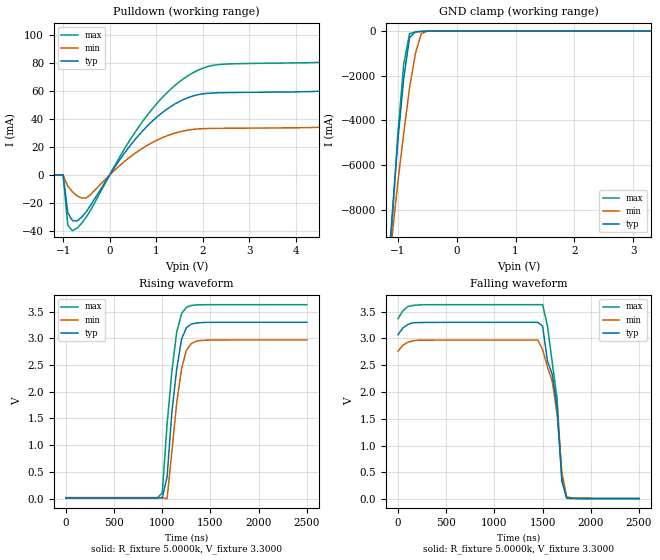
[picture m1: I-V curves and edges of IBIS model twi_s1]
| [Disclaimer]
| Copyright (C)2008 Analog Devices, All Rights Reserved
| [Copyright] This model is exclusive property of Analog Devices Inc
| From bf51x_3_3_24x24_lqfp.ibs, BF512/BF514/BF516/BF518, ANALOG DEVICES
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|   Model ptwi400kv123
[Model]   twi_s1
Model_type   I/O_open_drain
Polarity   Non-Inverting
Enable   Active-Low
Vinl =   0.9900V
Vinh =   2.3100V
Vmeas =   1.6500V
Cref =  50.0000pF
Rref =   5.0000k
Vref =   3.3000V
C_comp   7.1300pF   6.4200pF   7.8500pF
[Temperature Range]   25.0000   0.1250k   0.000
[Voltage Range]   3.3000V   2.9700V   3.6300V
[Pullup Reference]   3.3000V   2.9700V   3.6300V
[Pulldown Reference]   0.000V   0.000V   0.000V
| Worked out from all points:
|   slope of the pulldown table from 0 to 0.495 V, typ, clamps not added: 21.3 ohm
|   GND clamp passes 1 mA (typ) near -0.42 V on its own axis
|   rising waveform, R_fixture 5.0000k, V_fixture 3.3000: 20-80 % time 109ns typ, 112ns min, 111ns max; typ from 0.012 V to 3.3 V
|   falling waveform, R_fixture 5.0000k, V_fixture 3.3000: 20-80 % time 115ns typ, 99ns min, 100ns max; typ from 3.07 V to 0.012 V
[Pulldown]
| voltage   I(typ)   I(min)   I(max)
-3.3V     0A         0A         0A
-1V       0A         0A         0A
-900mV    -27mA      -8mA       -36mA
-800mV    -32.7mA    -12mA      -39.9mA
-500mV    -26.17mA   -16.36mA   -30.1mA
800mV     34.76mA    21.07mA    42.4mA
1.7V      55.57mA    32.23mA    71.41mA
2.3V      58.82mA    33.4mA     78.92mA
4.7V      60.33mA    34.39mA    80.94mA
5.9V      67.53mA    38.98mA    88.23mA
6.1V      69.92mA    40.45mA    90.86mA
6.6V      1.912A     51.04mA    4.196A
[GND_clamp]
| voltage   I(typ)   I(min)   I(max)
-3.3V     -92.66A    -68.53A    -112A
-1.2V     -12A       -11.86A    -13.19A
-1.1V     -8.387A    -9.304A    -8.79A
-1V       -4.955A    -6.813A    -4.664A
-900mV    -2.16A     -4.601A    -1.502A
-800mV    -286.3mA   -2.544A    -115.2mA
-700mV    -37.09mA   -1.004A    -43.61mA
-600mV    -14.25mA   -110.4mA   -21.1mA
-500mV    -3.567mA   -11.8mA    -6.33mA
3.3V      48.4uA     46.04uA    51.38uA
[Ramp]
| variable   typ   min   max
dV/dt_r   1.9719/0.1058u   1.7706/0.1069u   2.1704/0.1051u
dV/dt_f   1.8328/0.1179u   1.6454/98.5486n   2.0150/0.1075u
R_load = 5.0000k
[Rising Waveform]
R_fixture = 5.0000k
V_fixture = 3.3000
V_fixture_min = 2.9700
V_fixture_max = 3.6300
L_fixture = 0.000H
C_fixture = 0.000F
| time   V(typ)   V(min)   V(max)
0s        12.46mV    17.94mV    11.62mV
950ns     12.3mV     17.4mV     11.58mV
1us       12.3mV     17.4mV     108.6mV
1.05us    405.9mV    -2.61mV    1.387V
1.1us     1.625V     883.5mV    2.389V
1.15us    2.424V     1.794V     3.118V
1.2us     2.982V     2.429V     3.461V
1.25us    3.196V     2.773V     3.579V
1.4us     3.292V     2.958V     3.626V
2.5us     3.299V     2.969V     3.629V
[Falling Waveform]
R_fixture = 5.0000k
V_fixture = 3.3000
V_fixture_min = 2.9700
V_fixture_max = 3.6300
L_fixture = 0.000H
C_fixture = 0.000F
| time   V(typ)   V(min)   V(max)
0s        3.067V     2.76V      3.37V
150ns     3.29V      2.953V     3.614V
1.45us    3.299V     2.969V     3.629V
1.5us     3.227V     2.788V     3.629V
1.55us    2.579V     2.467V     3.236V
1.6us     2.328V     2.201V     2.546V
1.65us    1.698V     1.589V     1.875V
1.7us     336.8mV    502.4mV    352.9mV
1.75us    23.3mV     42.99mV    17.97mV
2.5us     12.37mV    17.69mV    11.6mV
